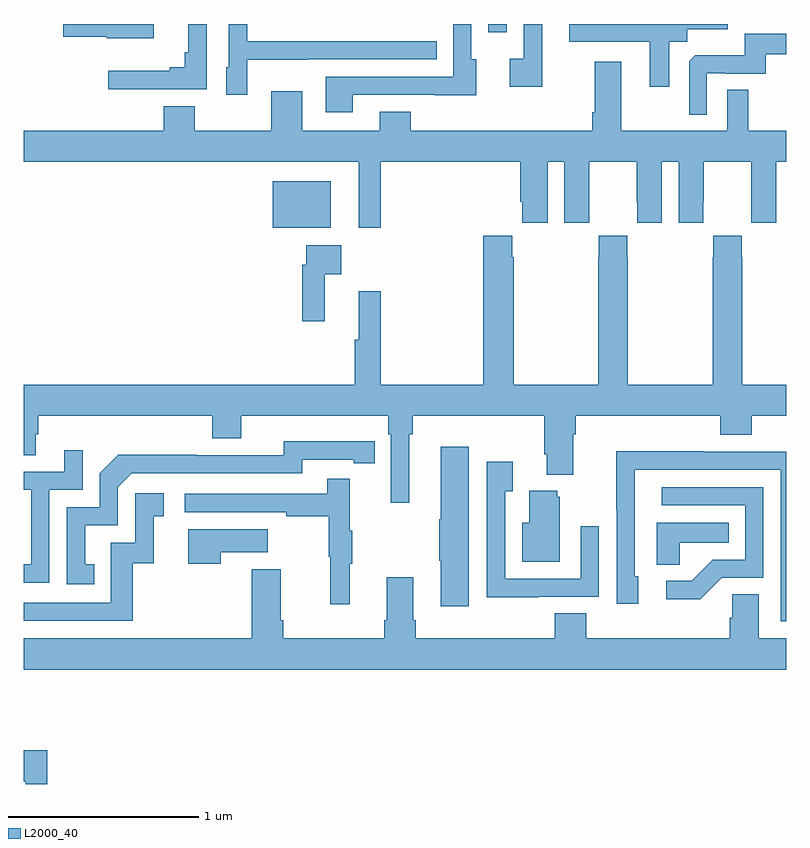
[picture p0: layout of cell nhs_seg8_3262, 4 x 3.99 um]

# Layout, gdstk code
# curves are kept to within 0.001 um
import gdstk
lib = gdstk.Library(unit=1e-6, precision=1e-09)
def R(c, l, rs):  # rectangles x0, y0, x1, y1
    for r in rs: c.add(gdstk.rectangle(r[:2], r[2:], *l))
def P(c, l, *ps):  # polygons
    for p in ps: c.add(gdstk.Polygon(p, *l))
L2000_40 = (2000, 40)

nhs_seg8_3262 = lib.new_cell('nhs_seg8_3262')
R(nhs_seg8_3262, L2000_40, [(314.306,1106.831,314.611,1107.076), (315.438,1107.858,315.534,1107.9), (314.279,1107.899,314.518,1107.9), (314.612,1107.899,314.89,1107.9)])
P(nhs_seg8_3262, L2000_40, [(316.387,1107.808),(316.482,1107.808),(316.482,1107.872),(316.693,1107.872),(316.693,1107.9),(315.863,1107.9),(315.863,1107.806),(316.283,1107.806),(316.283,1107.57),(316.387,1107.57)],
  [(314.172,1107.713),(314.489,1107.713),(314.489,1107.714),(315.167,1107.714),(315.167,1107.81),(314.172,1107.81),(314.172,1107.9),(314.076,1107.9),(314.076,1107.672),(314.063,1107.672),(314.063,1107.528),(314.172,1107.528)],
  [(313.959,1107.9),(313.862,1107.9),(313.862,1107.751),(313.843,1107.751),(313.843,1107.674),(313.766,1107.674),(313.766,1107.655),(313.443,1107.655),(313.443,1107.558),(313.959,1107.558)],
  [(315.721,1107.9),(315.624,1107.9),(315.624,1107.718),(315.549,1107.718),(315.549,1107.57),(315.721,1107.57)],
  [(314.725,1107.528),(315.155,1107.528),(315.155,1107.527),(315.373,1107.527),(315.373,1107.714),(315.348,1107.714),(315.348,1107.9),(315.252,1107.9),(315.252,1107.624),(314.585,1107.624),(314.585,1107.438),(314.725,1107.438)],
  [(313.681,1107.9),(313.206,1107.9),(313.206,1107.833),(313.434,1107.833),(313.434,1107.824),(313.681,1107.824)],
  [(316.584,1107.642),(316.684,1107.642),(316.684,1107.639),(316.892,1107.639),(316.892,1107.741),(317,1107.741),(317,1107.849),(316.782,1107.849),(316.782,1107.737),(316.523,1107.737),(316.491,1107.705),(316.491,1107.425),(316.584,1107.425)],
  [(314.873,1107.176),(315.605,1107.176),(315.605,1106.968),(315.614,1106.968),(315.614,1106.856),(315.748,1106.856),(315.748,1107.176),(315.836,1107.176),(315.836,1106.856),(315.966,1106.856),(315.966,1106.968),(315.967,1106.968),(315.967,1107.176),(316.217,1107.176),(316.217,1106.968),(316.218,1106.968),(316.218,1106.856),(316.348,1106.856),(316.348,1107.176),(316.436,1107.176),(316.436,1106.856),(316.566,1106.856),(316.566,1106.968),(316.567,1106.968),(316.567,1107.176),(316.817,1107.176),(316.817,1106.968),(316.818,1106.968),(316.818,1106.856),(316.948,1106.856),(316.948,1107.176),(317,1107.176),(317,1107.34),(316.801,1107.34),(316.801,1107.554),(316.692,1107.554),(316.692,1107.34),(316.135,1107.34),(316.135,1107.703),(315.995,1107.703),(315.995,1107.436),(315.983,1107.436),(315.983,1107.34),(315.031,1107.34),(315.031,1107.439),(314.867,1107.439),(314.867,1107.34),(314.461,1107.34),(314.461,1107.547),(314.297,1107.547),(314.297,1107.34),(313.897,1107.34),(313.897,1107.469),(313.733,1107.469),(313.733,1107.34),(313,1107.34),(313,1107.176),(314.756,1107.176),(314.756,1106.832),(314.873,1106.832)],
  [(315.022,1105.748),(315.041,1105.748),(315.041,1105.844),(315.731,1105.844),(315.731,1105.642),(315.743,1105.642),(315.743,1105.535),(315.883,1105.535),(315.883,1105.748),(315.896,1105.748),(315.896,1105.844),(316.655,1105.844),(316.655,1105.745),(316.82,1105.745),(316.82,1105.844),(317,1105.844),(317,1106.008),(316.77,1106.008),(316.77,1106.675),(316.767,1106.675),(316.767,1106.788),(316.617,1106.788),(316.617,1106.675),(316.615,1106.675),(316.615,1106.008),(316.17,1106.008),(316.17,1106.675),(316.167,1106.675),(316.167,1106.788),(316.017,1106.788),(316.017,1106.675),(316.015,1106.675),(316.015,1106.008),(315.57,1106.008),(315.57,1106.675),(315.563,1106.675),(315.563,1106.788),(315.41,1106.788),(315.41,1106.008),(314.873,1106.008),(314.873,1106.497),(314.756,1106.497),(314.756,1106.244),(314.737,1106.244),(314.737,1106.008),(313,1106.008),(313,1105.636),(313.063,1105.636),(313.063,1105.746),(313.076,1105.746),(313.076,1105.844),(313.988,1105.844),(313.988,1105.727),(314.14,1105.727),(314.14,1105.844),(314.912,1105.844),(314.912,1105.748),(314.925,1105.748),(314.925,1105.389),(315.022,1105.389)],
  [(314.579,1106.588),(314.665,1106.588),(314.665,1106.74),(314.481,1106.74),(314.481,1106.636),(314.461,1106.636),(314.461,1106.34),(314.579,1106.34)],
  [(313.37,1105.065),(313.321,1105.065),(313.321,1105.269),(313.494,1105.269),(313.494,1105.47),(313.566,1105.542),(314.46,1105.542),(314.46,1105.614),(314.732,1105.614),(314.732,1105.594),(314.84,1105.594),(314.84,1105.71),(314.364,1105.711),(314.364,1105.638),(313.904,1105.638),(313.904,1105.64),(313.496,1105.64),(313.398,1105.542),(313.398,1105.365),(313.224,1105.365),(313.224,1104.96),(313.37,1104.96)],
  [(315.334,1105.681),(315.188,1105.681),(315.188,1105.301),(315.181,1105.301),(315.181,1105.084),(315.188,1105.084),(315.188,1104.846),(315.334,1104.846)],
  [(313.134,1105.455),(313.308,1105.455),(313.308,1105.663),(313.211,1105.663),(313.211,1105.551),(313,1105.551),(313,1105.455),(313.038,1105.455),(313.038,1105.066),(313,1105.066),(313,1104.969),(313.134,1104.969)],
  [(317,1105.656),(316.571,1105.656),(316.571,1105.658),(316.108,1105.658),(316.108,1105.351),(316.11,1105.351),(316.11,1104.858),(316.225,1104.858),(316.225,1105.002),(316.206,1105.002),(316.206,1105.56),(316.971,1105.56),(316.971,1104.765),(317,1104.765)],
  [(315.701,1104.894),(316.017,1104.894),(316.017,1105.264),(315.921,1105.264),(315.921,1104.99),(315.525,1104.99),(315.525,1105.447),(315.565,1105.447),(315.565,1105.603),(315.429,1105.603),(315.429,1104.893),(315.701,1104.893)],
  [(314.711,1105.067),(314.722,1105.067),(314.722,1105.241),(314.711,1105.241),(314.711,1105.513),(314.593,1105.513),(314.593,1105.434),(313.845,1105.434),(313.845,1105.338),(314.377,1105.338),(314.377,1105.318),(314.601,1105.318),(314.601,1105.104),(314.608,1105.104),(314.608,1104.855),(314.711,1104.855)],
  [(316.662,1104.993),(316.881,1104.993),(316.881,1105.47),(316.347,1105.47),(316.347,1105.374),(316.785,1105.374),(316.785,1105.089),(316.616,1105.089),(316.505,1104.978),(316.371,1104.978),(316.371,1104.881),(316.549,1104.881)],
  [(315.811,1105.419),(315.8,1105.419),(315.8,1105.45),(315.653,1105.45),(315.653,1105.282),(315.614,1105.282),(315.614,1105.079),(315.811,1105.079)],
  [(313.571,1105.071),(313.682,1105.071),(313.682,1105.317),(313.735,1105.317),(313.735,1105.438),(313.584,1105.438),(313.584,1105.179),(313.455,1105.179),(313.455,1104.864),(313,1104.864),(313,1104.768),(313.571,1104.768)],
  [(316.443,1105.178),(316.7,1105.178),(316.7,1105.282),(316.322,1105.282),(316.322,1105.063),(316.443,1105.063)],
  [(314.033,1105.127),(314.281,1105.127),(314.281,1105.249),(313.862,1105.249),(313.862,1105.068),(314.033,1105.068)],
  [(317,1104.676),(316.855,1104.676),(316.855,1104.908),(316.716,1104.908),(316.716,1104.785),(316.703,1104.785),(316.703,1104.676),(315.95,1104.676),(315.95,1104.809),(315.785,1104.809),(315.785,1104.676),(315.056,1104.676),(315.056,1104.772),(315.043,1104.772),(315.043,1104.997),(314.903,1104.997),(314.903,1104.772),(314.891,1104.772),(314.891,1104.676),(314.36,1104.676),(314.36,1104.772),(314.347,1104.772),(314.347,1105.039),(314.195,1105.039),(314.195,1104.676),(313,1104.676),(313,1104.512),(317,1104.512)],
  [(313.123,1104.09),(313,1104.09),(313,1103.924),(313.01,1103.924),(313.01,1103.912),(313.123,1103.912)])

lib.write_gds('nhs_seg8_3262.gds')
